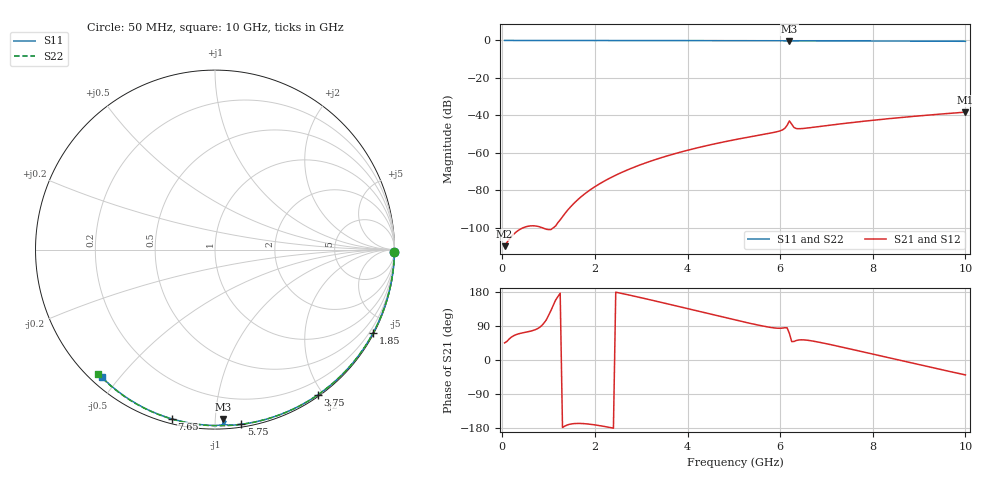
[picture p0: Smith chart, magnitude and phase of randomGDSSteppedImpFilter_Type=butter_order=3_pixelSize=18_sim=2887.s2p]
! freq	dB(S11)	phase(S11)	dB(S12)	phase(S12)
!  dB(S21)	phase(S21)	dB(S22)	phase(S22)
!S-par simulation data
#  GHz  S  DB  R 50
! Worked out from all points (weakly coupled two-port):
!   200 points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, 50 MHz to 10 GHz, reference 50 ohm
!   highest |S21| = -38.31 dB at 10 GHz (marker M1); lowest = -109.9 dB at 50 MHz (marker M2)
!   lowest |S11| = -0.5 dB at 6.2 GHz (marker M3), VSWR 34.89, Z = 3 - j52.3 ohm
!   |S11| at or under -10 dB: nowhere
!   |S22| runs from -0.4 to 0.0 dB; largest |S21 - S12| = 0
!   S11 on the Smith chart (normalised r, x): 50 MHz: open; 1.85 GHz: 0.04, -4.06; 3.75 GHz: 0.02, -1.93; 5.75 GHz: 0.02, -1.16; 7.65 GHz: 0.02, -0.78; 10 GHz: 0.03, -0.45
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0.05  -0.00 -0.8  -109.93 45.1  -109.93 45.1  -0.00 -0.8
0.9  -0.02 -13.6  -100.46 97.5  -100.46 97.5  -0.02 -13.8
1.75  -0.03 -26.2  -82.56 -167.8  -82.56 -167.8  -0.03 -26.6
1.85  -0.04 -27.7  -80.68 -168.9  -80.68 -168.9  -0.04 -28.0
1.9  -0.04 -28.4  -79.80 -169.6  -79.80 -169.6  -0.04 -28.8
2.2  -0.04 -32.8  -75.19 -175.2  -75.19 -175.2  -0.04 -33.2
2.55  -0.05 -37.8  -70.83 176.4  -70.83 176.4  -0.05 -38.4
2.95  -0.06 -43.5  -66.73 165.7  -66.73 165.7  -0.06 -44.1
3.4  -0.07 -49.9  -62.90 153.0  -62.90 153.0  -0.07 -50.6
3.75  -0.07 -54.7  -60.34 142.9  -60.34 142.9  -0.07 -55.5
5.05  -0.11 -72.2  -52.89 105.1  -52.89 105.1  -0.11 -73.2
5.75  -0.14 -81.4  -49.70 86.8  -49.70 86.8  -0.14 -82.3
6.05  -0.17 -85.6  -47.80 84.2  -47.80 84.2  -0.15 -86.1
6.1  -0.20 -86.4  -46.96 85.2  -46.96 85.2  -0.15 -86.7
6.15  -0.27 -87.4  -45.37 84.9  -45.37 84.9  -0.16 -87.4
6.2  -0.50 -87.3  -42.98 69.8  -42.98 69.8  -0.16 -88.0
6.3  -0.23 -87.2  -46.53 49.0  -46.53 49.0  -0.16 -89.3
6.35  -0.20 -88.0  -47.07 51.5  -47.07 51.5  -0.16 -89.9
6.7  -0.18 -92.8  -46.44 50.1  -46.44 50.1  -0.18 -94.3
7.65  -0.24 -104.3  -43.59 25.3  -43.59 25.3  -0.24 -105.8
8.35  -0.29 -112.6  -41.78 5.7  -41.78 5.7  -0.29 -114.1
10  -0.45 -131.5  -38.31 -39.3  -38.31 -39.3  -0.44 -133.2
